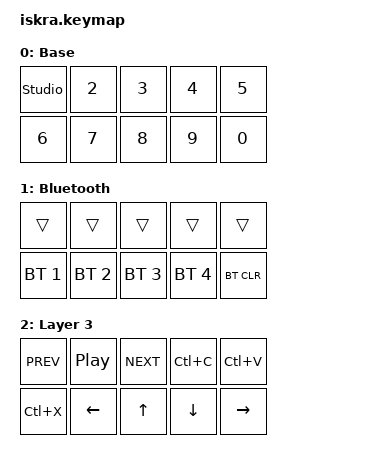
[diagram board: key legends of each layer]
#include <behaviors.dtsi>
#include <dt-bindings/zmk/keys.h>
#include <dt-bindings/zmk/bt.h>

/ {
	keymap {
		compatible = "zmk,keymap";

		base {
			display-name = "Base";
			bindings = <
				&studio_unlock  &kp N2  &kp N3  &kp N4  &kp N5
				&kp N6  &kp N7  &kp N8  &kp N9  &kp N0
			>;
		};

		bt_layer {
			display-name = "Bluetooth";
			bindings = <
				&trans        &trans        &trans        &trans        &trans
				&bt BT_SEL 1  &bt BT_SEL 2  &bt BT_SEL 3  &bt BT_SEL 4  &bt BT_CLR
			>;
		};

		layer3 {
			display-name = "Layer 3";
			bindings = <
				&kp C_PREV        &kp C_PLAY_PAUSE  &kp C_NEXT  &kp LC(C)  &kp LC(V)
				&kp LC(X)         &kp LEFT          &kp UP      &kp DOWN   &kp RIGHT
			>;
		};
	};

	combos {
		compatible = "zmk,combos";

		combo_base: combo_base {
			timeout-ms = <100>;
			key-positions = <0 1 2>;
			bindings = <&to 0>;
		};

		combo_bt: combo_bt {
			timeout-ms = <100>;
			key-positions = <3 4 5>;
			bindings = <&to 1>;
		};

		combo_l3: combo_l3 {
			timeout-ms = <100>;
			key-positions = <6 7 8>;
			bindings = <&to 2>;
		};

		combo_studio_unlock: combo_studio_unlock {
			timeout-ms = <300>;
			key-positions = <8 9>;
			bindings = <&studio_unlock>;
		};
	};
};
